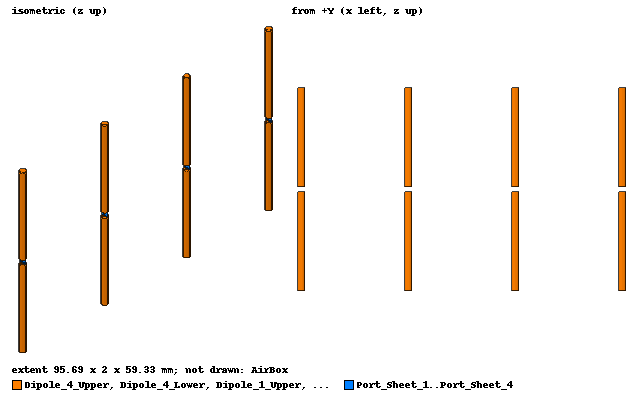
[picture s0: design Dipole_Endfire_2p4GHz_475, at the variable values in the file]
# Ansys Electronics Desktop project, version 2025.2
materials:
  vacuum: permittivity=1
  pec: conductivity=1e+30

design Dipole_Endfire_2p4GHz_475 (HFSS, HFSS Hybrid Modal Network, model units mm)
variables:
  f0 = 2.4GHz
  lambda0 = 124.9135mm
  d_elem = 31.2284mm
  L_dipole = 59.3339mm
  r_dipole = 1mm
  g_feed = 1.5mm
  L_arm = 28.917mm
  beta_deg = -90deg
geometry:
  Dipole_1_Upper [pec] = cylinder(axis=Z, base_centre=(0mm, 0mm, 0.75mm), radius=1mm, height=28.917mm)
  Dipole_1_Lower [pec] = cylinder(axis=Z, base_centre=(0mm, 0mm, -0.75mm), radius=1mm, height=-28.917mm)
  Port_Sheet_1 = rectangle(corner=(0mm, -1mm, -0.75mm), y_size=2mm, z_size=1.5mm)
  Dipole_2_Upper [pec] = cylinder(axis=Z, base_centre=(31.2284mm, 0mm, 0.75mm), radius=1mm, height=28.917mm)
  Dipole_2_Lower [pec] = cylinder(axis=Z, base_centre=(31.2284mm, 0mm, -0.75mm), radius=1mm, height=-28.917mm)
  Port_Sheet_2 = rectangle(corner=(31.2284mm, -1mm, -0.75mm), y_size=2mm, z_size=1.5mm)
  Dipole_3_Upper [pec] = cylinder(axis=Z, base_centre=(62.4568mm, 0mm, 0.75mm), radius=1mm, height=28.917mm)
  Dipole_3_Lower [pec] = cylinder(axis=Z, base_centre=(62.4568mm, 0mm, -0.75mm), radius=1mm, height=-28.917mm)
  Port_Sheet_3 = rectangle(corner=(62.4568mm, -1mm, -0.75mm), y_size=2mm, z_size=1.5mm)
  Dipole_4_Upper [pec] = cylinder(axis=Z, base_centre=(93.6851mm, 0mm, 0.75mm), radius=1mm, height=28.917mm)
  Dipole_4_Lower [pec] = cylinder(axis=Z, base_centre=(93.6851mm, 0mm, -0.75mm), radius=1mm, height=-28.917mm)
  Port_Sheet_4 = rectangle(corner=(93.6851mm, -1mm, -0.75mm), y_size=2mm, z_size=1.5mm)
  AirBox [vacuum] = box(corner=(-62.4568mm, -62.4568mm, -92.1237mm), size=(218.5987mm, 124.9135mm, 184.2474mm))
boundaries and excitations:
  Rad_AirBox: Radiation Objects=AirBox
  Port1: Lumped Port Objects=Port_Sheet_1 LumpedPortType=Modal Modes{Mode1{IntLine{(0, 0, -0.75) -> (0, 0, 0.75)} CharImp=Zpi RenormImp=50ohm}} Impedance=50ohm
  Port2: Lumped Port Objects=Port_Sheet_2 LumpedPortType=Modal Modes{Mode1{IntLine{(31.2284, 0, -0.75) -> (31.2284, 0, 0.75)} CharImp=Zpi RenormImp=50ohm}} Impedance=50ohm
  Port3: Lumped Port Objects=Port_Sheet_3 LumpedPortType=Modal Modes{Mode1{IntLine{(62.4568, 0, -0.75) -> (62.4568, 0, 0.75)} CharImp=Zpi RenormImp=50ohm}} Impedance=50ohm
  Port4: Lumped Port Objects=Port_Sheet_4 LumpedPortType=Modal Modes{Mode1{IntLine{(93.6851, 0, -0.75) -> (93.6851, 0, 0.75)} CharImp=Zpi RenormImp=50ohm}} Impedance=50ohm
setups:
  Setup_2p4GHz: HfssDriven Frequency=2.4GHz MaxDeltaS=0.02 MaximumPasses=15 MinimumPasses=2 MinimumConvergedPasses=2 PercentRefinement=30 BasisOrder=1 PortAccuracy=2 DrivenSolverType="Direct Solver"
    sweep Sweep_2p0_to_2p8GHz: 2GHz to 2.8GHz, 81 points; Type=Interpolating InterpTolerance=0.5 InterpMaxSolns=250 InterpUsePortImped=false PassivityErrorTolerance=0.0001
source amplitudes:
  Port1:1: 1W -0deg
  Port2:1: 1W -90deg
  Port3:1: 1W -180deg
  Port4:1: 1W -270deg
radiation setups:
  Infinite_Sphere_3D: Infinite Sphere Theta=-180deg..180deg step 2deg Phi=-180deg..180deg step 2deg
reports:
  Reflection_S_Parameters_dB: dB(S(Port1,Port1)), dB(S(Port2,Port2)), dB(S(Port3,Port3)), dB(S(Port4,Port4)) vs Freq on Setup_2p4GHz : Sweep_2p0_to_2p8GHz
  Active_S_Parameters_dB: dB(ActiveS(Port1:1)), dB(ActiveS(Port2:1)), dB(ActiveS(Port3:1)), dB(ActiveS(Port4:1)) vs Freq on Setup_2p4GHz : Sweep_2p0_to_2p8GHz
  Endfire_Azimuth_Pattern_XY: dB(GainTotal), dB(DirTotal) vs Phi on Setup_2p4GHz : LastAdaptive, Infinite_Sphere_3D [Theta=90deg Freq=2.4GHz]
  Endfire_Elevation_Pattern_XZ: dB(GainTotal), dB(DirTotal) vs Theta on Setup_2p4GHz : LastAdaptive, Infinite_Sphere_3D [Phi=0deg Freq=2.4GHz]
  3D_Endfire_Gain_Pattern: dB(GainTotal) vs Phi, Theta on Setup_2p4GHz : LastAdaptive, Infinite_Sphere_3D [Freq=2.4GHz]
